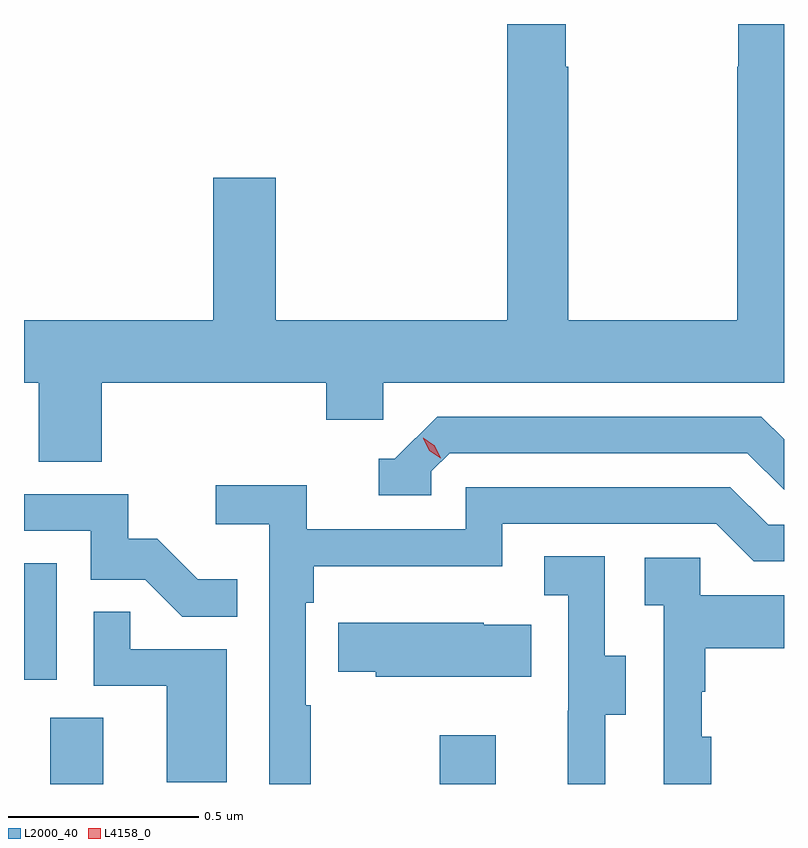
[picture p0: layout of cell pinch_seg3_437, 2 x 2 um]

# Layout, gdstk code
import gdstk
lib = gdstk.Library(unit=1e-6, precision=1e-09)
def R(c, l, rs):  # rectangles x0, y0, x1, y1
    for r in rs: c.add(gdstk.rectangle(r[:2], r[2:], *l))
def P(c, l, *ps):  # polygons
    for p in ps: c.add(gdstk.Polygon(p, *l))
L2000_40 = (2000, 40)
L4158_0 = (4158, 0)

pinch_seg3_437 = lib.new_cell('pinch_seg3_437')
R(pinch_seg3_437, L2000_40, [(907.835,691.868,907.975,692.042), (908.86,691.868,909.007,691.996), (907.766,692.142,907.852,692.449)])
P(pinch_seg3_437, L2000_40, [(907.97,692.924),(908.561,692.924),(908.561,692.826),(908.712,692.826),(908.712,692.924),(909.766,692.924),(909.766,693.868),(909.645,693.868),(909.645,693.755),(909.643,693.755),(909.643,693.088),(909.198,693.088),(909.198,693.755),(909.191,693.755),(909.191,693.868),(909.038,693.868),(909.038,693.088),(908.428,693.088),(908.428,693.463),(908.264,693.463),(908.264,693.088),(907.766,693.088),(907.766,692.924),(907.805,692.924),(907.805,692.716),(907.97,692.716)],
  [(908.838,692.691),(908.886,692.739),(909.669,692.739),(909.766,692.642),(909.766,692.775),(909.706,692.835),(908.853,692.835),(908.742,692.724),(908.699,692.724),(908.699,692.628),(908.838,692.628)],
  [(908.521,692.075),(908.508,692.075),(908.508,692.345),(908.528,692.345),(908.528,692.441),(909.024,692.441),(909.024,692.553),(909.588,692.553),(909.687,692.454),(909.766,692.454),(909.766,692.55),(909.724,692.55),(909.625,692.649),(908.928,692.649),(908.928,692.538),(908.51,692.538),(908.51,692.654),(908.271,692.654),(908.271,692.552),(908.412,692.552),(908.412,691.868),(908.521,691.868)],
  [(908.327,692.407),(908.223,692.407),(908.116,692.514),(908.04,692.514),(908.04,692.631),(907.766,692.631),(907.766,692.535),(907.941,692.535),(907.941,692.406),(908.085,692.406),(908.183,692.308),(908.327,692.308)],
  [(909.295,692.05),(909.349,692.05),(909.349,692.205),(909.294,692.205),(909.294,692.468),(909.135,692.468),(909.135,692.365),(909.198,692.365),(909.198,692.061),(909.197,692.061),(909.197,691.868),(909.295,691.868)],
  [(909.574,691.992),(909.549,691.992),(909.549,692.111),(909.559,692.111),(909.559,692.225),(909.766,692.225),(909.766,692.365),(909.546,692.365),(909.546,692.463),(909.399,692.463),(909.399,692.339),(909.45,692.339),(909.45,691.868),(909.574,691.868)],
  [(908.299,692.223),(908.045,692.223),(908.045,692.321),(907.95,692.321),(907.95,692.127),(908.141,692.127),(908.141,691.872),(908.299,691.872)],
  [(909.101,692.287),(908.976,692.287),(908.976,692.293),(908.593,692.293),(908.593,692.164),(908.691,692.164),(908.691,692.15),(909.101,692.15)])
P(pinch_seg3_437, L4158_0, [(908.863,692.725),(908.832,692.745),(908.816,692.778),(908.816,692.779),(908.816,692.779),(908.847,692.758),(908.863,692.726),(908.863,692.725)])

lib.write_gds('pinch_seg3_437.gds')
